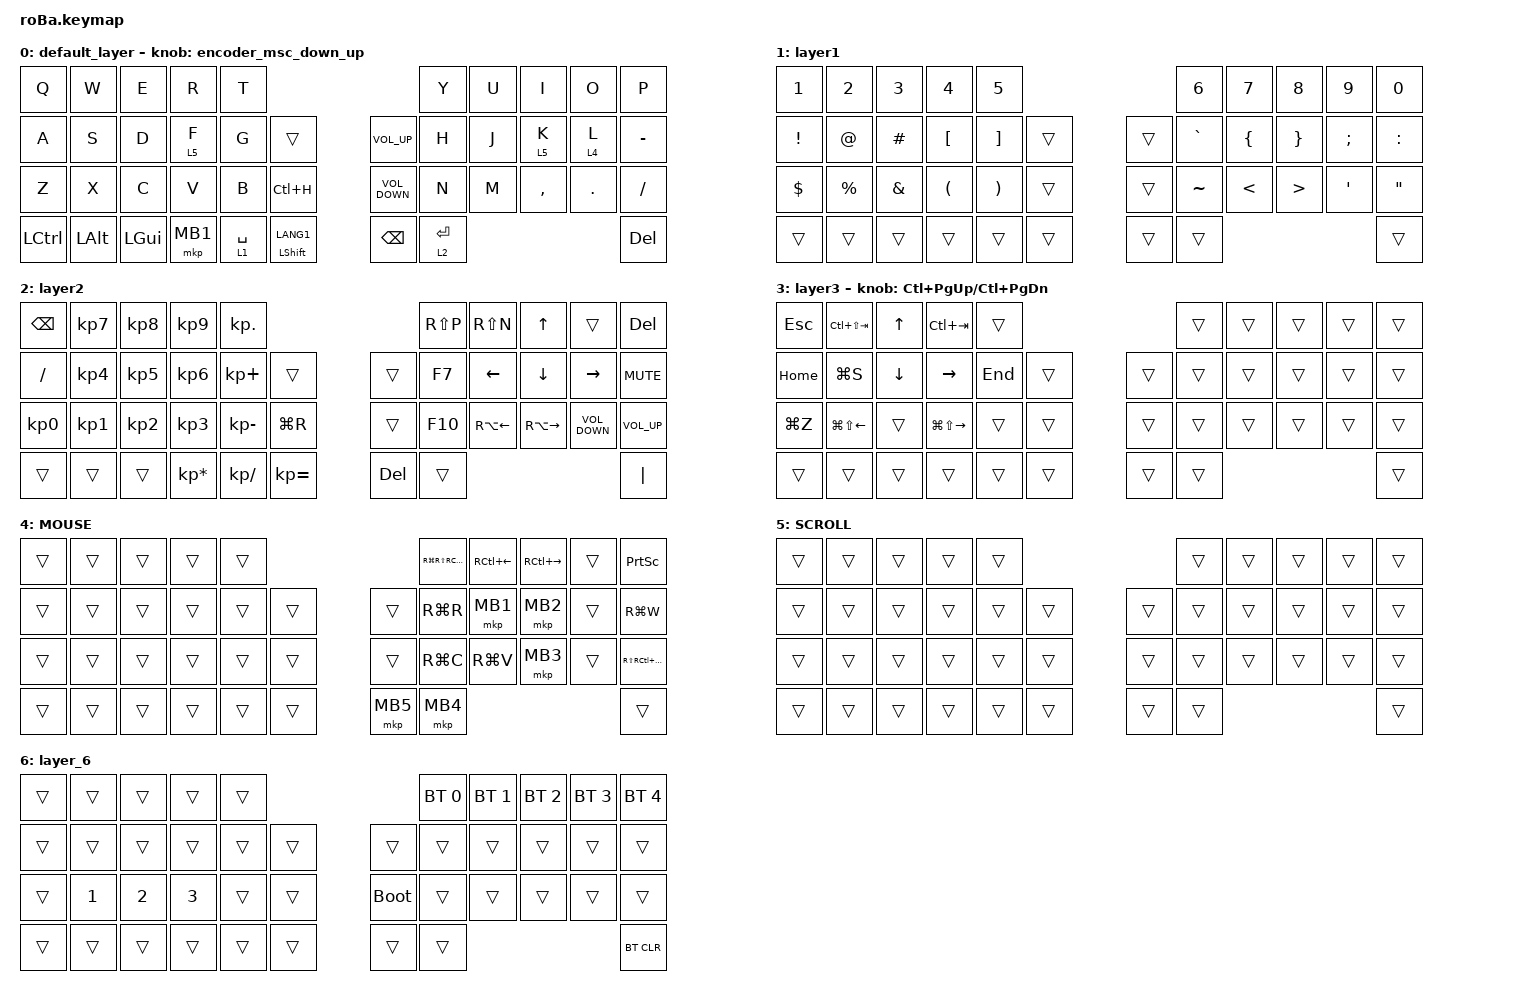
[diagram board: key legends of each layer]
#include <behaviors.dtsi>
#include <dt-bindings/zmk/bt.h>
#include <dt-bindings/zmk/keys.h>
#include <dt-bindings/zmk/pointing.h>

#define ZMK_POINTING_DEFAULT_SCRL_VAL 80

&mt {
    flavor = "balanced";
    quick-tap-ms = <0>;
};

&trackball {
    // automouse-layer = <4>;

    scroll-layers = <5>;

    // arrows {
    //     layers = <3>;
    //     bindings =
    //         <&kp RIGHT_ARROW>,
    //         <&kp LEFT_ARROW>,
    //         <&kp UP_ARROW>,
    //         <&kp DOWN_ARROW>;
    //     tick = <10>;
    //     wait-ms = <5>;
    //     tap-ms = <5>;
    // };
};

/ {
    combos {
        compatible = "zmk,combos";

        esc {
            bindings = <&kp ESCAPE>;
            key-positions = <0 1>;
        };

        lang2 {
            bindings = <&kp LANG2>;
            key-positions = <13 12>;
        };

        layer6 {
            bindings = <&lt 6 ESCAPE>;
            key-positions = <34 35 36>;
        };
    };

    macros {
        to_layer_0: to_layer_0 {
            compatible = "zmk,behavior-macro-one-param";
            #binding-cells = <1>;
            bindings = <&to 0 &macro_param_1to1 &kp MACRO_PLACEHOLDER>;
            label = "TO_LAYER_0";
        };
    };

    behaviors {
        lt_to_layer_0: lt_to_layer_0 {
            compatible = "zmk,behavior-hold-tap";
            label = "LAYER_TAP_TO_0";
            bindings = <&mo>, <&to_layer_0>;

            #binding-cells = <2>;
            tapping-term-ms = <200>;
        };

        encoder_msc_down_up: encoder_msc_down_up {
            compatible = "zmk,behavior-sensor-rotate";
            label = "ENCODER_MSC_DOWN_UP";
            #sensor-binding-cells = <0>;
            bindings = <&msc SCRL_DOWN>, <&msc SCRL_UP>;

            tap-ms = <20>;
        };
    };

    keymap {
        compatible = "zmk,keymap";

        default_layer {
            bindings = <
&kp Q      &kp W         &kp E         &kp R     &kp T                                                     &kp Y        &kp U  &kp I      &kp O    &kp P
&kp A      &kp S         &kp D         &lt 5 F   &kp G        &trans                    &kp C_VOLUME_UP    &kp H        &kp J  &lt 5 K    &lt 4 L  &kp MINUS
&kp Z      &kp X         &kp C         &kp V     &kp B        &kp LC(H)                 &kp C_VOLUME_DOWN  &kp N        &kp M  &kp COMMA  &kp DOT  &kp SLASH
&kp LCTRL  &kp LEFT_ALT  &kp LEFT_GUI  &mkp MB1  &lt 1 SPACE  &mt LEFT_SHIFT LANG1      &kp BACKSPACE      &lt 2 ENTER                             &kp DELETE
            >;

            sensor-bindings = <&encoder_msc_down_up>;
        };

        layer1 {
            bindings = <
&kp NUMBER_1  &kp NUMBER_2  &kp NUMBER_3  &kp NUMBER_4          &kp NUMBER_5                               &kp NUMBER_6  &kp NUMBER_7    &kp NUMBER_8      &kp NUMBER_9      &kp NUMBER_0
&kp EXCL      &kp AT        &kp HASH      &kp LEFT_BRACKET      &kp RIGHT_BRACKET      &trans      &trans  &kp GRAVE     &kp LEFT_BRACE  &kp RIGHT_BRACE   &kp SEMICOLON     &kp COLON
&kp DLLR      &kp PERCENT   &kp AMPS      &kp LEFT_PARENTHESIS  &kp RIGHT_PARENTHESIS  &trans      &trans  &kp TILDE     &kp LT          &kp GREATER_THAN  &kp SINGLE_QUOTE  &kp DOUBLE_QUOTES
&trans        &trans        &trans        &trans                &trans                 &trans      &trans  &trans                                                            &trans
            >;
        };

        layer2 {
            bindings = <
&kp BACKSPACE  &kp KP_NUMBER_7  &kp KP_NUMBER_8  &kp KP_NUMBER_9  &kp KP_DOT                                   &kp RS(P)  &kp RS(N)           &kp UP_ARROW         &trans             &kp DEL
&kp SLASH      &kp KP_NUMBER_4  &kp KP_NUMBER_5  &kp KP_NUMBER_6  &kp KP_PLUS    &trans            &trans      &kp F7     &kp LEFT_ARROW      &kp DOWN_ARROW       &kp RIGHT_ARROW    &kp K_MUTE
&kp KP_N0      &kp KP_NUMBER_1  &kp KP_NUMBER_2  &kp KP_NUMBER_3  &kp KP_MINUS   &kp LG(R)         &trans      &kp F10    &kp RA(LEFT_ARROW)  &kp RA(RIGHT_ARROW)  &kp C_VOLUME_DOWN  &kp C_VOLUME_UP
&trans         &trans           &trans           &kp KP_ASTERISK  &kp KP_DIVIDE  &kp KP_EQUAL      &kp DELETE  &trans                                                                 &kp PIPE
            >;
        };

        layer3 {
            bindings = <
&kp ESCAPE  &kp LC(LS(TAB))         &kp UP_ARROW    &kp LC(TAB)              &trans                       &trans  &trans  &trans  &trans  &trans
&kp HOME    &kp LG(S)               &kp DOWN_ARROW  &kp RIGHT_ARROW          &kp END  &trans      &trans  &trans  &trans  &trans  &trans  &trans
&kp LG(Z)   &kp LG(LS(LEFT_ARROW))  &trans          &kp LG(LS(RIGHT_ARROW))  &trans   &trans      &trans  &trans  &trans  &trans  &trans  &trans
&trans      &trans                  &trans          &trans                   &trans   &trans      &trans  &trans                          &trans
            >;

            sensor-bindings = <&inc_dec_kp LC(PAGE_UP) LC(PAGE_DOWN)>;
        };

        MOUSE {
            bindings = <
&trans  &trans  &trans  &trans  &trans                        &kp RG(RS(RC(NUMBER_4)))  &kp RC(LEFT_ARROW)  &kp RC(RIGHT_ARROW)  &trans  &kp PRINTSCREEN
&trans  &trans  &trans  &trans  &trans  &trans      &trans    &kp RG(R)                 &mkp MB1            &mkp MB2             &trans  &kp RG(W)
&trans  &trans  &trans  &trans  &trans  &trans      &trans    &kp RG(C)                 &kp RG(V)           &mkp MB3             &trans  &kp RS(RC(RG(NUMBER_4)))
&trans  &trans  &trans  &trans  &trans  &trans      &mkp MB5  &mkp MB4                                                                   &trans
            >;
        };

        SCROLL {
            bindings = <
&trans  &trans  &trans  &trans  &trans                      &trans  &trans  &trans  &trans  &trans
&trans  &trans  &trans  &trans  &trans  &trans      &trans  &trans  &trans  &trans  &trans  &trans
&trans  &trans  &trans  &trans  &trans  &trans      &trans  &trans  &trans  &trans  &trans  &trans
&trans  &trans  &trans  &trans  &trans  &trans      &trans  &trans                          &trans
            >;
        };

        layer_6 {
            bindings = <
&trans  &trans        &trans        &trans        &trans                           &bt BT_SEL 0  &bt BT_SEL 1  &bt BT_SEL 2  &bt BT_SEL 3  &bt BT_SEL 4
&trans  &trans        &trans        &trans        &trans  &trans      &trans       &trans        &trans        &trans        &trans        &trans
&trans  &kp NUMBER_1  &kp NUMBER_2  &kp NUMBER_3  &trans  &trans      &bootloader  &trans        &trans        &trans        &trans        &trans
&trans  &trans        &trans        &trans        &trans  &trans      &trans       &trans                                                  &bt BT_CLR
            >;
        };
    };
};
